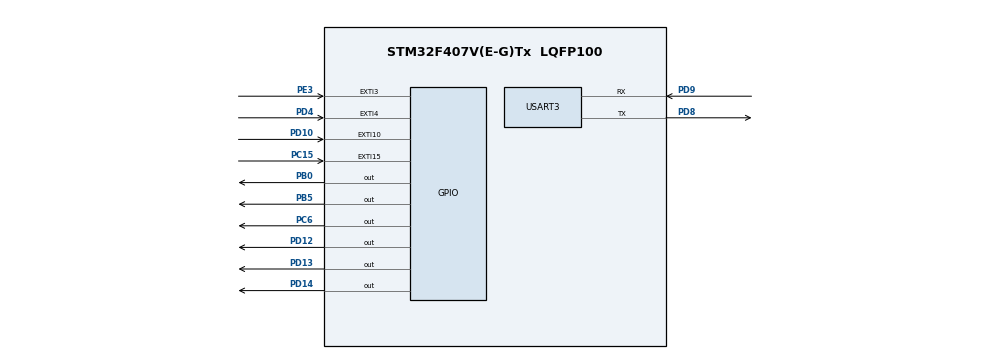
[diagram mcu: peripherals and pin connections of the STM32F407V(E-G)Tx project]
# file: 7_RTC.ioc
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Dma.Request0=USART3_RX
Dma.USART3_RX.0.Direction=DMA_PERIPH_TO_MEMORY
Dma.USART3_RX.0.FIFOMode=DMA_FIFOMODE_DISABLE
Dma.USART3_RX.0.Instance=DMA1_Stream1
Dma.USART3_RX.0.MemDataAlignment=DMA_MDATAALIGN_BYTE
Dma.USART3_RX.0.MemInc=DMA_MINC_ENABLE
Dma.USART3_RX.0.Mode=DMA_NORMAL
Dma.USART3_RX.0.PeriphDataAlignment=DMA_PDATAALIGN_BYTE
Dma.USART3_RX.0.PeriphInc=DMA_PINC_DISABLE
Dma.USART3_RX.0.Priority=DMA_PRIORITY_LOW
Mcu.Family=STM32F4
Mcu.Name=STM32F407V(E-G)Tx
Mcu.Package=LQFP100
NVIC.DMA1_Stream1_IRQn=true\:0\:0\:false\:false\:true\:false\:true\:true
NVIC.EXTI15_10_IRQn=true\:0\:0\:false\:false\:true\:true\:true\:true
NVIC.EXTI3_IRQn=true\:0\:0\:false\:false\:true\:true\:true\:true
NVIC.EXTI4_IRQn=true\:0\:0\:false\:false\:true\:true\:true\:true
NVIC.PriorityGroup=NVIC_PRIORITYGROUP_4
NVIC.RTC_Alarm_IRQn=true\:0\:0\:false\:false\:true\:true\:true\:true
NVIC.USART3_IRQn=true\:0\:0\:false\:false\:true\:true\:true\:true
PB0.PinState=GPIO_PIN_SET
PB0.Signal=GPIO_Output
PB5.PinState=GPIO_PIN_SET
PB5.Signal=GPIO_Output
PC15-OSC32_OUT.Signal=GPXTI15
PC6.PinState=GPIO_PIN_SET
PC6.Signal=GPIO_Output
PD10.Signal=GPXTI10
PD12.PinState=GPIO_PIN_SET
PD12.Signal=GPIO_Output
PD13.PinState=GPIO_PIN_SET
PD13.Signal=GPIO_Output
PD14.PinState=GPIO_PIN_SET
PD14.Signal=GPIO_Output
PD4.Signal=GPXTI4
PD8.Mode=Asynchronous
PD8.Signal=USART3_TX
PD9.Mode=Asynchronous
PD9.Signal=USART3_RX
PE3.Signal=GPXTI3
PH0-OSC_IN.Mode=HSE-External-Oscillator
PH0-OSC_IN.Signal=RCC_OSC_IN
PH1-OSC_OUT.Mode=HSE-External-Oscillator
PH1-OSC_OUT.Signal=RCC_OSC_OUT
ProjectManager.HeapSize=0x200
ProjectManager.StackSize=0x400
ProjectManager.TargetToolchain=CMake
RCC.48MHZClocksFreq_Value=84000000
RCC.AHBFreq_Value=168000000
RCC.APB1CLKDivider=RCC_HCLK_DIV4
RCC.APB1Freq_Value=42000000
RCC.APB1TimFreq_Value=84000000
RCC.APB2CLKDivider=RCC_HCLK_DIV2
RCC.APB2Freq_Value=84000000
RCC.APB2TimFreq_Value=168000000
RCC.CortexFreq_Value=168000000
RCC.HCLKFreq_Value=168000000
RCC.HSE_VALUE=8000000
RCC.HSI_VALUE=16000000
RCC.LSE_VALUE=32768
RCC.PLLM=4
RCC.PLLN=168
RCC.PLLSourceVirtual=RCC_PLLSOURCE_HSE
RCC.SYSCLKFreq_VALUE=168000000
RCC.SYSCLKSource=RCC_SYSCLKSOURCE_PLLCLK
RCC.VCOOutputFreq_Value=336000000
RTC.Alarm=RTC_ALARM_A
RTC.AlarmMaskDateWeekDay=RTC_ALARMMASK_DATEWEEKDAY
RTC.AlarmMaskHours=RTC_ALARMMASK_HOURS
RTC.AlarmMaskMinutes=RTC_ALARMMASK_MINUTES
RTC.Date=11
RTC.Hours=12
RTC.Minutes=54
RTC.Month=RTC_MONTH_DECEMBER
RTC.Seconds_A=30
RTC.WeekDay=RTC_WEEKDAY_WEDNESDAY
RTC.Year=24
USART3.VirtualMode=VM_ASYNC
VP_RTC_VS_RTC_Activate.Mode=RTC_Enabled
VP_RTC_VS_RTC_Alarm_A_Intern.Mode=Alarm A
VP_RTC_VS_RTC_Calendar.Mode=RTC_Calendar
board=custom

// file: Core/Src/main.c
/* USER CODE BEGIN Header */
/**
 ******************************************************************************
 * @file           : main.c
 * @brief          : Main program body
 ******************************************************************************
 * @attention
 *
 * Copyright (c) 2024 STMicroelectronics.
 * All rights reserved.
 *
 * This software is licensed under terms that can be found in the LICENSE file
 * in the root directory of this software component.
 * If no LICENSE file comes with this software, it is provided AS-IS.
 *
 ******************************************************************************
 */
/* USER CODE END Header */
#include "main.h"

/* USER CODE BEGIN Includes */
#include <stdio.h>
/* USER CODE END Includes */

/* USER CODE BEGIN PV */
char date_buf[11] = {0};
char time_buf[9] = {0};
/* USER CODE END PV */

void SystemClock_Config(void);
static void MX_GPIO_Init(void);
static void MX_DMA_Init(void);
static void MX_USART3_UART_Init(void);
static void MX_RTC_Init(void);
/* USER CODE BEGIN PFP */
int __io_putchar(int ch) {
  while (!LL_USART_IsActiveFlag_TXE(USART3));
  LL_USART_TransmitData8(USART3, (char)ch);
  return ch;
}

void RTCstring(void) {
  sprintf(date_buf, "%04d/%02d/%02d",
          __LL_RTC_CONVERT_BCD2BIN(LL_RTC_DATE_GetYear(RTC)) + 2000,
          __LL_RTC_CONVERT_BCD2BIN(LL_RTC_DATE_GetMonth(RTC)),
          __LL_RTC_CONVERT_BCD2BIN(LL_RTC_DATE_GetDay(RTC)));

  sprintf(time_buf, "%02d:%02d:%02d",
          __LL_RTC_CONVERT_BCD2BIN(LL_RTC_TIME_GetHour(RTC)),
          __LL_RTC_CONVERT_BCD2BIN(LL_RTC_TIME_GetMinute(RTC)),
          __LL_RTC_CONVERT_BCD2BIN(LL_RTC_TIME_GetSecond(RTC)));

  printf("%s %s\r\n", date_buf, time_buf);
}
/* USER CODE END PFP */

int main(void) {

  /* MCU Configuration--------------------------------------------------------*/

  /* Reset of all peripherals, Initializes the Flash interface and the Systick.
   */
  LL_APB2_GRP1_EnableClock(LL_APB2_GRP1_PERIPH_SYSCFG);
  LL_APB1_GRP1_EnableClock(LL_APB1_GRP1_PERIPH_PWR);

  /* System interrupt init*/
  NVIC_SetPriorityGrouping(NVIC_PRIORITYGROUP_4);

  /* SysTick_IRQn interrupt configuration */
  NVIC_SetPriority(SysTick_IRQn,
                   NVIC_EncodePriority(NVIC_GetPriorityGrouping(), 15, 0));

  /* Configure the system clock */
  SystemClock_Config();

  /* Initialize all configured peripherals */
  MX_GPIO_Init();
  MX_DMA_Init();
  MX_USART3_UART_Init();
  MX_RTC_Init();
  /* USER CODE BEGIN 2 */
  //= RTC Alarm code
  //= RTC, Alarm enable
  LL_RTC_DisableWriteProtection(RTC);
  LL_RTC_ALMA_Enable(RTC);
  LL_RTC_ClearFlag_ALRA(RTC);
  LL_RTC_EnableIT_ALRA(RTC);
  LL_RTC_EnableWriteProtection(RTC);

  //= RTC interrupt enable
  LL_EXTI_EnableIT_0_31(LL_EXTI_LINE_17);
  LL_EXTI_EnableRisingTrig_0_31(LL_EXTI_LINE_17);

  LL_RTC_ClearFlag_RS(RTC);
  while (!LL_RTC_IsActiveFlag_RS(RTC));
  /* USER CODE END 2 */

  /* Infinite loop */
  /* USER CODE BEGIN WHILE */
  while (1) {
    //= RTC Alarm code
    RTCstring();
    LL_mDelay(1000);
    /* USER CODE END WHILE */

  }
}

void SystemClock_Config(void) {
  LL_FLASH_SetLatency(LL_FLASH_LATENCY_5);
  while (LL_FLASH_GetLatency() != LL_FLASH_LATENCY_5) {
  }
  LL_PWR_SetRegulVoltageScaling(LL_PWR_REGU_VOLTAGE_SCALE1);
  LL_RCC_HSE_Enable();

  /* Wait till HSE is ready */
  while (LL_RCC_HSE_IsReady() != 1) {
  }
  LL_RCC_LSI_Enable();

  /* Wait till LSI is ready */
  while (LL_RCC_LSI_IsReady() != 1) {
  }
  LL_PWR_EnableBkUpAccess();
  LL_RCC_PLL_ConfigDomain_SYS(LL_RCC_PLLSOURCE_HSE, LL_RCC_PLLM_DIV_4, 168,
                              LL_RCC_PLLP_DIV_2);
  LL_RCC_PLL_Enable();

  /* Wait till PLL is ready */
  while (LL_RCC_PLL_IsReady() != 1) {
  }
  while (LL_PWR_IsActiveFlag_VOS() == 0) {
  }
  LL_RCC_SetAHBPrescaler(LL_RCC_SYSCLK_DIV_1);
  LL_RCC_SetAPB1Prescaler(LL_RCC_APB1_DIV_4);
  LL_RCC_SetAPB2Prescaler(LL_RCC_APB2_DIV_2);
  LL_RCC_SetSysClkSource(LL_RCC_SYS_CLKSOURCE_PLL);

  /* Wait till System clock is ready */
  while (LL_RCC_GetSysClkSource() != LL_RCC_SYS_CLKSOURCE_STATUS_PLL) {
  }
  LL_Init1msTick(168000000);
  LL_SetSystemCoreClock(168000000);
}

static void MX_RTC_Init(void) {

  LL_RTC_InitTypeDef RTC_InitStruct = {0};
  LL_RTC_TimeTypeDef RTC_TimeStruct = {0};
  LL_RTC_DateTypeDef RTC_DateStruct = {0};
  LL_RTC_AlarmTypeDef RTC_AlarmStruct = {0};

  if (LL_RCC_GetRTCClockSource() != LL_RCC_RTC_CLKSOURCE_LSI) {
    LL_RCC_ForceBackupDomainReset();
    LL_RCC_ReleaseBackupDomainReset();
    LL_RCC_SetRTCClockSource(LL_RCC_RTC_CLKSOURCE_LSI);
  }

  /* Peripheral clock enable */
  LL_RCC_EnableRTC();

  /* RTC interrupt Init */
  NVIC_SetPriority(RTC_Alarm_IRQn,
                   NVIC_EncodePriority(NVIC_GetPriorityGrouping(), 0, 0));
  NVIC_EnableIRQ(RTC_Alarm_IRQn);

  /** Initialize RTC and set the Time and Date
   */
  RTC_InitStruct.HourFormat = LL_RTC_HOURFORMAT_24HOUR;
  RTC_InitStruct.AsynchPrescaler = 127;
  RTC_InitStruct.SynchPrescaler = 255;
  LL_RTC_Init(RTC, &RTC_InitStruct);
  LL_RTC_SetAsynchPrescaler(RTC, 127);
  LL_RTC_SetSynchPrescaler(RTC, 255);

  /** Initialize RTC and set the Time and Date
   */
  if (LL_RTC_BAK_GetRegister(RTC, LL_RTC_BKP_DR0) != 0x32F2) {
    RTC_TimeStruct.Hours = 12;
    RTC_TimeStruct.Minutes = 54;
    RTC_TimeStruct.Seconds = 0;
    LL_RTC_TIME_Init(RTC, LL_RTC_FORMAT_BCD, &RTC_TimeStruct);
    RTC_DateStruct.WeekDay = LL_RTC_WEEKDAY_WEDNESDAY;
    RTC_DateStruct.Month = LL_RTC_MONTH_DECEMBER;
    RTC_DateStruct.Day = 0x11;
    RTC_DateStruct.Year = 24;
    LL_RTC_DATE_Init(RTC, LL_RTC_FORMAT_BCD, &RTC_DateStruct);
    LL_RTC_BAK_SetRegister(RTC, LL_RTC_BKP_DR0, 0x32F2);
  }

  /** Initialize RTC and set the Time and Date
   */
  if (LL_RTC_BAK_GetRegister(RTC, LL_RTC_BKP_DR0) != 0x32F2) {
    LL_RTC_BAK_SetRegister(RTC, LL_RTC_BKP_DR0, 0x32F2);
  }

  /** Enable the Alarm A
   */
  RTC_AlarmStruct.AlarmTime.Hours = 0x0;
  RTC_AlarmStruct.AlarmTime.Minutes = 0x0;
  RTC_AlarmStruct.AlarmTime.Seconds = 0x30;
  RTC_AlarmStruct.AlarmMask = LL_RTC_ALMA_MASK_DATEWEEKDAY |
                              LL_RTC_ALMA_MASK_HOURS | LL_RTC_ALMA_MASK_MINUTES;
  RTC_AlarmStruct.AlarmDateWeekDaySel = LL_RTC_ALMA_DATEWEEKDAYSEL_DATE;
  RTC_AlarmStruct.AlarmDateWeekDay = 1;
  LL_RTC_ALMA_Init(RTC, LL_RTC_FORMAT_BCD, &RTC_AlarmStruct);
  LL_RTC_EnableIT_ALRA(RTC);
}

static void MX_USART3_UART_Init(void) {

  LL_USART_InitTypeDef USART_InitStruct = {0};

  LL_GPIO_InitTypeDef GPIO_InitStruct = {0};

  /* Peripheral clock enable */
  LL_APB1_GRP1_EnableClock(LL_APB1_GRP1_PERIPH_USART3);

  LL_AHB1_GRP1_EnableClock(LL_AHB1_GRP1_PERIPH_GPIOD);
  /**USART3 GPIO Configuration
  PD8   ------> USART3_TX
  PD9   ------> USART3_RX
  */
  GPIO_InitStruct.Pin = LL_GPIO_PIN_8 | LL_GPIO_PIN_9;
  GPIO_InitStruct.Mode = LL_GPIO_MODE_ALTERNATE;
  GPIO_InitStruct.Speed = LL_GPIO_SPEED_FREQ_VERY_HIGH;
  GPIO_InitStruct.OutputType = LL_GPIO_OUTPUT_PUSHPULL;
  GPIO_InitStruct.Pull = LL_GPIO_PULL_NO;
  GPIO_InitStruct.Alternate = LL_GPIO_AF_7;
  LL_GPIO_Init(GPIOD, &GPIO_InitStruct);

  /* USART3 DMA Init */

  /* USART3_RX Init */
  LL_DMA_SetChannelSelection(DMA1, LL_DMA_STREAM_1, LL_DMA_CHANNEL_4);

  LL_DMA_SetDataTransferDirection(DMA1, LL_DMA_STREAM_1,
                                  LL_DMA_DIRECTION_PERIPH_TO_MEMORY);

  LL_DMA_SetStreamPriorityLevel(DMA1, LL_DMA_STREAM_1, LL_DMA_PRIORITY_LOW);

  LL_DMA_SetMode(DMA1, LL_DMA_STREAM_1, LL_DMA_MODE_NORMAL);

  LL_DMA_SetPeriphIncMode(DMA1, LL_DMA_STREAM_1, LL_DMA_PERIPH_NOINCREMENT);

  LL_DMA_SetMemoryIncMode(DMA1, LL_DMA_STREAM_1, LL_DMA_MEMORY_INCREMENT);

  LL_DMA_SetPeriphSize(DMA1, LL_DMA_STREAM_1, LL_DMA_PDATAALIGN_BYTE);

  LL_DMA_SetMemorySize(DMA1, LL_DMA_STREAM_1, LL_DMA_MDATAALIGN_BYTE);

  LL_DMA_DisableFifoMode(DMA1, LL_DMA_STREAM_1);

  /* USART3 interrupt Init */
  NVIC_SetPriority(USART3_IRQn,
                   NVIC_EncodePriority(NVIC_GetPriorityGrouping(), 0, 0));
  NVIC_EnableIRQ(USART3_IRQn);

  USART_InitStruct.BaudRate = 115200;
  USART_InitStruct.DataWidth = LL_USART_DATAWIDTH_8B;
  USART_InitStruct.StopBits = LL_USART_STOPBITS_1;
  USART_InitStruct.Parity = LL_USART_PARITY_NONE;
  USART_InitStruct.TransferDirection = LL_USART_DIRECTION_TX_RX;
  USART_InitStruct.HardwareFlowControl = LL_USART_HWCONTROL_NONE;
  USART_InitStruct.OverSampling = LL_USART_OVERSAMPLING_16;
  LL_USART_Init(USART3, &USART_InitStruct);
  LL_USART_ConfigAsyncMode(USART3);
  LL_USART_Enable(USART3);
}

static void MX_DMA_Init(void) {
  /* Init with LL driver */
  /* DMA controller clock enable */
  LL_AHB1_GRP1_EnableClock(LL_AHB1_GRP1_PERIPH_DMA1);

  /* DMA interrupt init */
  /* DMA1_Stream1_IRQn interrupt configuration */
  NVIC_SetPriority(DMA1_Stream1_IRQn,
                   NVIC_EncodePriority(NVIC_GetPriorityGrouping(), 0, 0));
  NVIC_EnableIRQ(DMA1_Stream1_IRQn);
}

static void MX_GPIO_Init(void) {
  LL_EXTI_InitTypeDef EXTI_InitStruct = {0};
  LL_GPIO_InitTypeDef GPIO_InitStruct = {0};

  /* GPIO Ports Clock Enable */
  LL_AHB1_GRP1_EnableClock(LL_AHB1_GRP1_PERIPH_GPIOE);
  LL_AHB1_GRP1_EnableClock(LL_AHB1_GRP1_PERIPH_GPIOC);
  LL_AHB1_GRP1_EnableClock(LL_AHB1_GRP1_PERIPH_GPIOH);
  LL_AHB1_GRP1_EnableClock(LL_AHB1_GRP1_PERIPH_GPIOB);
  LL_AHB1_GRP1_EnableClock(LL_AHB1_GRP1_PERIPH_GPIOD);

  /**/
  LL_GPIO_SetOutputPin(GPIOB, LL_GPIO_PIN_0 | LL_GPIO_PIN_5);

  /**/
  LL_GPIO_SetOutputPin(GPIOD, LL_GPIO_PIN_12 | LL_GPIO_PIN_13 | LL_GPIO_PIN_14);

  /**/
  LL_GPIO_SetOutputPin(GPIOC, LL_GPIO_PIN_6);

  /**/
  LL_SYSCFG_SetEXTISource(LL_SYSCFG_EXTI_PORTE, LL_SYSCFG_EXTI_LINE3);

  /**/
  LL_SYSCFG_SetEXTISource(LL_SYSCFG_EXTI_PORTC, LL_SYSCFG_EXTI_LINE15);

  /**/
  LL_SYSCFG_SetEXTISource(LL_SYSCFG_EXTI_PORTD, LL_SYSCFG_EXTI_LINE10);

  /**/
  LL_SYSCFG_SetEXTISource(LL_SYSCFG_EXTI_PORTD, LL_SYSCFG_EXTI_LINE4);

  /**/
  EXTI_InitStruct.Line_0_31 = LL_EXTI_LINE_3;
  EXTI_InitStruct.LineCommand = ENABLE;
  EXTI_InitStruct.Mode = LL_EXTI_MODE_IT;
  EXTI_InitStruct.Trigger = LL_EXTI_TRIGGER_RISING;
  LL_EXTI_Init(&EXTI_InitStruct);

  /**/
  EXTI_InitStruct.Line_0_31 = LL_EXTI_LINE_15;
  EXTI_InitStruct.LineCommand = ENABLE;
  EXTI_InitStruct.Mode = LL_EXTI_MODE_IT;
  EXTI_InitStruct.Trigger = LL_EXTI_TRIGGER_RISING;
  LL_EXTI_Init(&EXTI_InitStruct);

  /**/
  EXTI_InitStruct.Line_0_31 = LL_EXTI_LINE_10;
  EXTI_InitStruct.LineCommand = ENABLE;
  EXTI_InitStruct.Mode = LL_EXTI_MODE_IT;
  EXTI_InitStruct.Trigger = LL_EXTI_TRIGGER_RISING;
  LL_EXTI_Init(&EXTI_InitStruct);

  /**/
  EXTI_InitStruct.Line_0_31 = LL_EXTI_LINE_4;
  EXTI_InitStruct.LineCommand = ENABLE;
  EXTI_InitStruct.Mode = LL_EXTI_MODE_IT;
  EXTI_InitStruct.Trigger = LL_EXTI_TRIGGER_RISING;
  LL_EXTI_Init(&EXTI_InitStruct);

  /**/
  LL_GPIO_SetPinPull(GPIOE, LL_GPIO_PIN_3, LL_GPIO_PULL_NO);

  /**/
  LL_GPIO_SetPinPull(GPIOC, LL_GPIO_PIN_15, LL_GPIO_PULL_NO);

  /**/
  LL_GPIO_SetPinPull(GPIOD, LL_GPIO_PIN_10, LL_GPIO_PULL_NO);

  /**/
  LL_GPIO_SetPinPull(GPIOD, LL_GPIO_PIN_4, LL_GPIO_PULL_NO);

  /**/
  LL_GPIO_SetPinMode(GPIOE, LL_GPIO_PIN_3, LL_GPIO_MODE_INPUT);

  /**/
  LL_GPIO_SetPinMode(GPIOC, LL_GPIO_PIN_15, LL_GPIO_MODE_INPUT);

  /**/
  LL_GPIO_SetPinMode(GPIOD, LL_GPIO_PIN_10, LL_GPIO_MODE_INPUT);

  /**/
  LL_GPIO_SetPinMode(GPIOD, LL_GPIO_PIN_4, LL_GPIO_MODE_INPUT);

  /**/
  GPIO_InitStruct.Pin = LL_GPIO_PIN_0 | LL_GPIO_PIN_5;
  GPIO_InitStruct.Mode = LL_GPIO_MODE_OUTPUT;
  GPIO_InitStruct.Speed = LL_GPIO_SPEED_FREQ_LOW;
  GPIO_InitStruct.OutputType = LL_GPIO_OUTPUT_PUSHPULL;
  GPIO_InitStruct.Pull = LL_GPIO_PULL_NO;
  LL_GPIO_Init(GPIOB, &GPIO_InitStruct);

  /**/
  GPIO_InitStruct.Pin = LL_GPIO_PIN_12 | LL_GPIO_PIN_13 | LL_GPIO_PIN_14;
  GPIO_InitStruct.Mode = LL_GPIO_MODE_OUTPUT;
  GPIO_InitStruct.Speed = LL_GPIO_SPEED_FREQ_LOW;
  GPIO_InitStruct.OutputType = LL_GPIO_OUTPUT_PUSHPULL;
  GPIO_InitStruct.Pull = LL_GPIO_PULL_NO;
  LL_GPIO_Init(GPIOD, &GPIO_InitStruct);

  /**/
  GPIO_InitStruct.Pin = LL_GPIO_PIN_6;
  GPIO_InitStruct.Mode = LL_GPIO_MODE_OUTPUT;
  GPIO_InitStruct.Speed = LL_GPIO_SPEED_FREQ_LOW;
  GPIO_InitStruct.OutputType = LL_GPIO_OUTPUT_PUSHPULL;
  GPIO_InitStruct.Pull = LL_GPIO_PULL_NO;
  LL_GPIO_Init(GPIOC, &GPIO_InitStruct);

  /* EXTI interrupt init*/
  NVIC_SetPriority(EXTI3_IRQn,
                   NVIC_EncodePriority(NVIC_GetPriorityGrouping(), 0, 0));
  NVIC_EnableIRQ(EXTI3_IRQn);
  NVIC_SetPriority(EXTI4_IRQn,
                   NVIC_EncodePriority(NVIC_GetPriorityGrouping(), 0, 0));
  NVIC_EnableIRQ(EXTI4_IRQn);
  NVIC_SetPriority(EXTI15_10_IRQn,
                   NVIC_EncodePriority(NVIC_GetPriorityGrouping(), 0, 0));
  NVIC_EnableIRQ(EXTI15_10_IRQn);

}

void Error_Handler(void) {
  __disable_irq();
  while (1) {
  }
}

#ifdef USE_FULL_ASSERT
/**
 * @brief  Reports the name of the source file and the source line number
 *         where the assert_param error has occurred.
 * @param  file: pointer to the source file name
 * @param  line: assert_param error line source number
 * @retval None
 */
void assert_failed(uint8_t *file, uint32_t line) {
  /* USER CODE BEGIN 6 */
  /* User can add his own implementation to report the file name and line
     number, ex: printf("Wrong parameters value: file %s on line %d\r\n", file,
     line) */
  /* USER CODE END 6 */
}
#endif /* USE_FULL_ASSERT */
